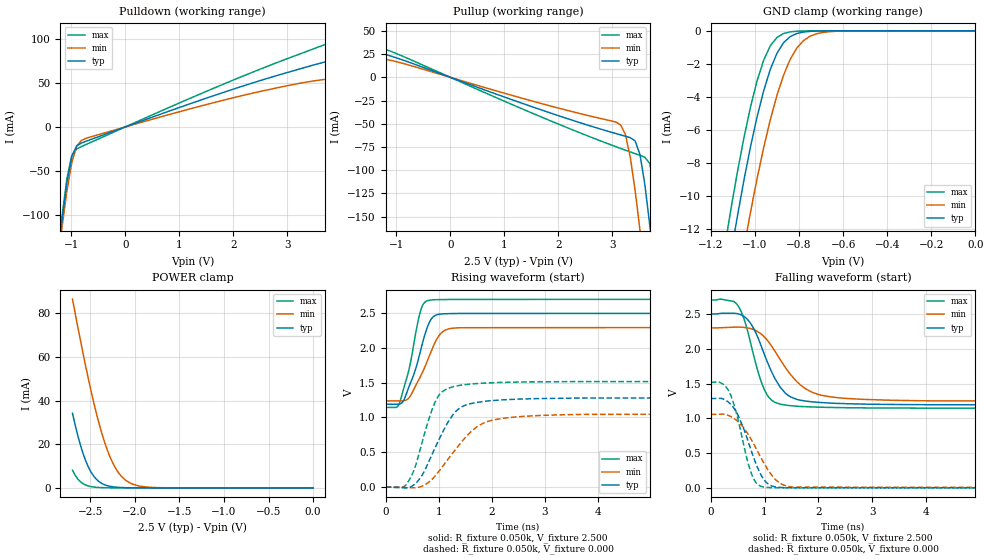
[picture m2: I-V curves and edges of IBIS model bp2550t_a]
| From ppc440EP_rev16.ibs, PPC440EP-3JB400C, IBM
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| [File]   bp2550t_a.ibs
| [File Rev]   1.4
| [Date]   Fri Aug 16 13:44:42 EDT 2002
| [Source]   File originated at IMD in Burlington, VT USA
[Model]   bp2550t_a
Model_type   I/O
Vinl  = 0.7V
Vinh  = 1.7V
Vref  = 0.0V
Rref  = 1e20k
Cref  = 10pF
Vmeas = 1.25V
| Values for delay from A to PAD (Tdo) are determined using
| Vref, Cref, Rref, and Vmeas.
|   INPUT TRANSITION ON DRIVER INPUT = 0.1ns
|   typ   min   max
| Tdo (rise)   1.45n   1.08n   1.96n
| Tdo (fall)   1.46n   1.17n   1.82n
|   INPUT TRANSITION ON DRIVER INPUT = 1.0ns
|   typ   min   max
| Tdo (rise)   1.51n   1.12n   2.05n
| Tdo (fall)   1.57n   1.26n   1.94n
|   typ   min   max
C_comp   1.23pF   1.19pF  1.26pF
[Temperature Range]   50.00   125.00   0.00
[Voltage Range]   2.500   2.300   2.700
|   typ   min   max
|[Supply]   VDD   1.5   1.4   1.6
|[Supply]   VDD250   2.50   2.30   2.70
[Add Submodel]
| Submodel Name   Mode
Up.bp2550t_a   Non-Driving
Dn.bp2550t_a   Non-Driving
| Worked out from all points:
|   slope of the pulldown table from 0 to 0.375 V, typ, clamps not added: 44.6 ohm
|   slope of the pullup table from 0 to 0.375 V, typ, clamps not added: 46.6 ohm
|   GND clamp passes 1 mA (typ) near -0.88 V on its own axis
|   POWER clamp passes 1 mA (typ) near -2.31 V on its own axis
|   rising waveform, R_fixture 0.050k, V_fixture 2.500: 20-80 % time 313ps typ, 376ps min, 258ps max; typ from 1.19 V to 2.5 V
|   falling waveform, R_fixture 0.050k, V_fixture 2.500: 20-80 % time 455ps typ, 630ps min, 338ps max; typ from 2.5 V to 1.19 V
|   rising waveform, R_fixture 0.050k, V_fixture 0.000: 20-80 % time 509ps typ, 700ps min, 365ps max; typ from 0 V to 1.28 V
|   falling waveform, R_fixture 0.050k, V_fixture 0.000: 20-80 % time 373ps typ, 477ps min, 289ps max; typ from 1.28 V to 0 V
[Pullup]   | Note: Vtable = Vcc - Vout
| Voltage   I(typ)   I(min)   I(max)
-2.7V     40.55mA    52.06mA    33.03mA
-2.43V    22.95mA    32.59mA    26.35mA
-2.07V    20.91mA    16.9mA     28.96mA
-1.26V    25.5mA     20.15mA    31.38mA
3.06V     -60.51mA   -48.14mA   -74.64mA
3.24V     -63.44mA   -61.68mA   -78.48mA
3.42V     -68.59mA   -122.2mA   -82.2mA
3.51V     -83.39mA   -165mA     -84.03mA
3.69V     -159.1mA   -261mA     -92.82mA
3.78V     -207.9mA   -312mA     -118.3mA
3.87V     -259.8mA   -364.1mA   -160.4mA
5.4V      -1.248A    -1.317A    -1.158A
[Pulldown]   | Note: Vtable = Vout
| Voltage   I(typ)   I(min)   I(max)
-2.7V     -1.093A    -1.05A     -1.122A
-1.26V    -154.1mA   -159.8mA   -152.3mA
-1.17V    -105.3mA   -113.8mA   -101.6mA
-1.08V    -63.09mA   -72.87mA   -58.71mA
-990mV    -33.49mA   -40.63mA   -32.5mA
-900mV    -21.62mA   -21.92mA   -25.09mA
-810mV    -18.3mA    -15.27mA   -22.32mA
2.25V     48.03mA    36.95mA    59.73mA
4.32V     81.45mA    59.3mA     106.8mA
4.86V     86.69mA    86.72mA    113.4mA
5.22V     108.7mA    113.4mA    116.9mA
5.4V      125.8mA    126.7mA    123.8mA
[POWER_Clamp]   | Note: Vtable = Vcc - Vout
| Voltage   I(typ)   I(min)   I(max)
-2.7V     34.17mA    86.47mA    8.087mA
-2.61V    19.48mA    67.43mA    2.771mA
-2.55V    12.21mA    55.4mA     1.257mA
-2.46V    5.265mA    38.85mA    365uA
-2.37V    2mA        24.87mA    103uA
-2.31V    1.007mA    17.4mA     44uA
-2.25V    499uA      11.56mA    19uA
-2.19V    245uA      7.31mA     8uA
-2.1V     83uA       3.407mA    2uA
-1.98V    20uA       1.124mA    0A
-1.77V    2uA        147uA      0A
0V        0A         0A         0A
[GND_Clamp]   | Note: Vtable = Vout
| Voltage   I(typ)   I(min)   I(max)
-2.7V     -180.1mA   -182.8mA   -178.6mA
-1.14V    -16.12mA   -20.43mA   -13.35mA
-1.11V    -13.63mA   -17.91mA   -10.89mA
-1.08V    -11.28mA   -15.49mA   -8.598mA
-1.05V    -9.063mA   -13.17mA   -6.493mA
-1.02V    -7.029mA   -10.98mA   -4.62mA
-960mV    -3.623mA   -7.061mA   -1.775mA
-930mV    -2.33mA    -5.375mA   -906uA
-870mV    -720uA     -2.686mA   -164uA
-780mV    -74uA      -596uA     -10uA
-630mV    -1uA       -27uA      0A
0V        0A         0A         0A
[Ramp]
| variable   typ   min   max
  dV/dt_r   0.77/0.51n   0.63/0.69n   0.91/0.37n
  dV/dt_f   0.79/0.46n   0.64/0.63n   0.93/0.34n
R_load = 0.050k
[Rising Waveform]
R_fixture = 0.050k
V_fixture = 2.500
V_fixture_min = 2.300
V_fixture_max = 2.700
|   time   V(typ)   V(min)   V(max)
0s        1.19V      1.238V     1.144V
220ps     1.189V     1.238V     1.154V
340ps     1.245V     1.24V      1.416V
460ps     1.48V      1.303V     1.757V
660ps     1.966V     1.595V     2.537V
740ps     2.192V     1.728V     2.657V
850ps     2.404V     1.934V     2.688V
1.06ns    2.487V     2.223V     2.694V
1.43ns    2.494V     2.289V     2.696V
19.9ns    2.5V       2.3V       2.7V
[Falling Waveform]
R_fixture = 0.050k
V_fixture = 2.500
V_fixture_min = 2.300
V_fixture_max = 2.700
|   time   V(typ)   V(min)   V(max)
0s        2.5V       2.3V       2.7V
470ps     2.508V     2.31V      2.654V
690ps     2.414V     2.298V     2.242V
890ps     2.135V     2.237V     1.642V
1.04ns    1.833V     2.132V     1.347V
1.29ns    1.448V     1.845V     1.204V
1.46ns    1.319V     1.652V     1.183V
1.99ns    1.23V      1.345V     1.16V
3.15ns    1.201V     1.264V     1.148V
19.9ns    1.19V      1.238V     1.144V
[Rising Waveform]
R_fixture = 0.050k
V_fixture = 0.000
V_fixture_min = 0.000
V_fixture_max = 0.000
|   time   V(typ)   V(min)   V(max)
0s        0V         0V         0V
320ps     -11mV      -4mV       -5mV
450ps     -4mV       -11mV      109mV
690ps     174mV      14mV       651mV
1.02ns    707mV      243mV      1.336V
1.29ns    1.062V     515mV      1.445V
1.59ns    1.196V     783mV      1.479V
2.19ns    1.252V     986mV      1.503V
3.57ns    1.278V     1.042V     1.515V
19.9ns    1.283V     1.057V     1.517V
[Falling Waveform]
R_fixture = 0.050k
V_fixture = 0.000
V_fixture_min = 0.000
V_fixture_max = 0.000
|   time   V(typ)   V(min)   V(max)
0s        1.284V     1.057V     1.517V
190ps     1.287V     1.059V     1.508V
340ps     1.225V     1.037V     1.387V
520ps     1.023V     942mV      941mV
760ps     519mV      686mV      198mV
860ps     310mV      540mV      59mV
1.02ns    89mV       314mV      8mV
1.26ns    8mV        82mV       2mV
1.53ns    2mV        10mV       1mV
19.9ns    0V         0V         0V
